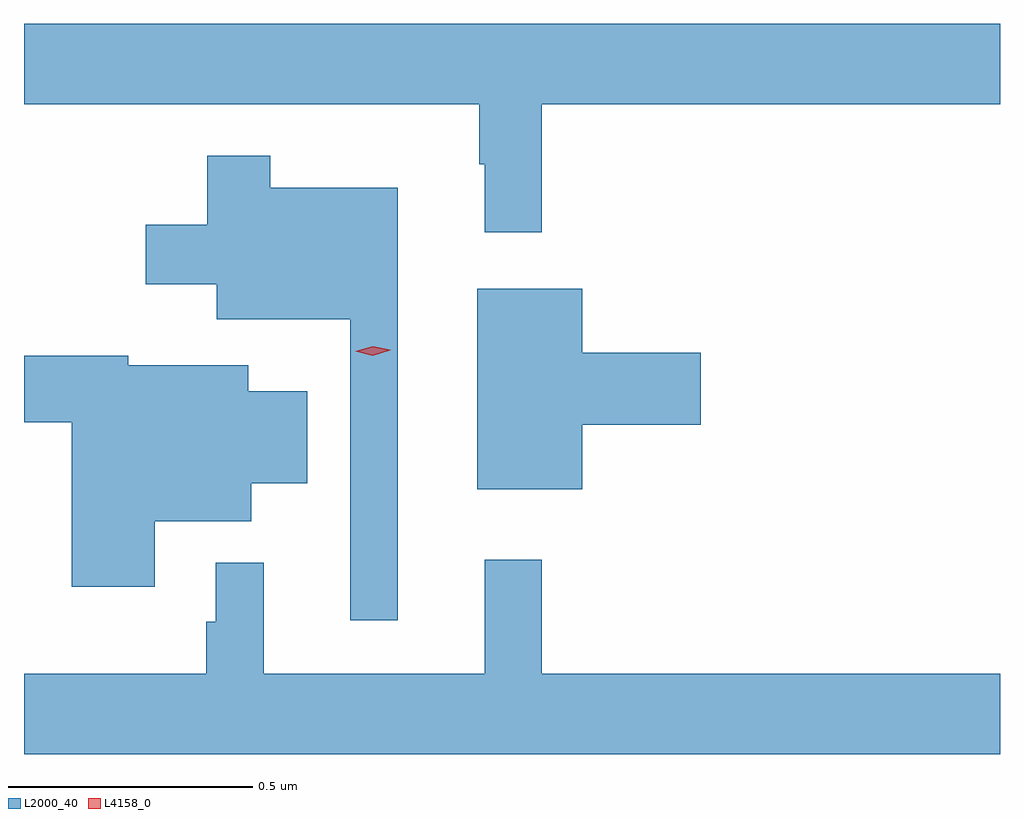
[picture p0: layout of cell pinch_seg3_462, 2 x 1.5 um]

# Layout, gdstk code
import gdstk
lib = gdstk.Library(unit=1e-6, precision=1e-09)
def P(c, l, *ps):  # polygons
    for p in ps: c.add(gdstk.Polygon(p, *l))
L2000_40 = (2000, 40)
L4158_0 = (4158, 0)

pinch_seg3_462 = lib.new_cell('pinch_seg3_462')
P(pinch_seg3_462, L2000_40, [(894.677,668.948),(895.616,668.948),(895.616,669.112),(893.616,669.112),(893.616,668.948),(894.549,668.948),(894.549,668.825),(894.56,668.825),(894.56,668.685),(894.677,668.685)],
  [(894.382,668.776),(894.121,668.776),(894.121,668.842),(893.992,668.842),(893.992,668.701),(893.865,668.701),(893.865,668.579),(894.011,668.579),(894.011,668.507),(894.285,668.507),(894.285,667.89),(894.382,667.89)],
  [(894.76,668.291),(895.003,668.291),(895.003,668.438),(894.76,668.438),(894.76,668.569),(894.545,668.569),(894.545,668.159),(894.76,668.159)],
  [(893.884,668.093),(894.082,668.093),(894.082,668.171),(894.196,668.171),(894.196,668.359),(894.076,668.359),(894.076,668.413),(893.83,668.413),(893.83,668.432),(893.616,668.432),(893.616,668.296),(893.714,668.296),(893.714,667.959),(893.884,667.959)],
  [(895.616,667.78),(894.677,667.78),(894.677,668.014),(894.56,668.014),(894.56,667.78),(894.107,667.78),(894.107,668.008),(894.009,668.008),(894.009,667.887),(893.989,667.887),(893.989,667.78),(893.616,667.78),(893.616,667.616),(895.616,667.616)])
P(pinch_seg3_462, L4158_0, [(894.331,668.432),(894.295,668.441),(894.295,668.441),(894.295,668.441),(894.331,668.452),(894.366,668.444),(894.367,668.444),(894.366,668.443)])

lib.write_gds('pinch_seg3_462.gds')
